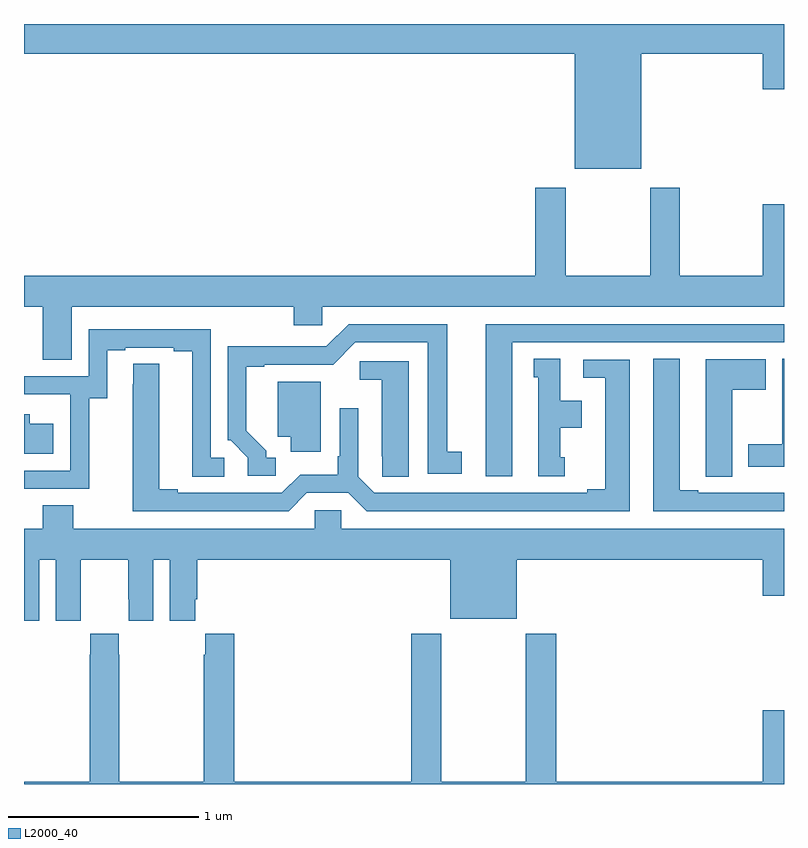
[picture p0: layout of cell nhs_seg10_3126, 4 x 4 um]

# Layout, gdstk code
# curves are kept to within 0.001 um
import gdstk
lib = gdstk.Library(unit=1e-6, precision=1e-09)
def P(c, l, *ps):  # polygons
    for p in ps: c.add(gdstk.Polygon(p, *l))
L2000_40 = (2000, 40)

nhs_seg10_3126 = lib.new_cell('nhs_seg10_3126')
P(nhs_seg10_3126, L2000_40, [(284.248,1272.344),(284.888,1272.344),(284.888,1272.156),(285,1272.156),(285,1272.5),(281,1272.5),(281,1272.344),(283.898,1272.344),(283.898,1271.738),(284.248,1271.738)],
  [(281.251,1271.012),(282.419,1271.012),(282.419,1270.914),(282.57,1270.914),(282.57,1271.012),(285,1271.012),(285,1271.551),(284.888,1271.551),(284.888,1271.176),(284.451,1271.176),(284.451,1271.638),(284.296,1271.638),(284.296,1271.176),(283.851,1271.176),(283.851,1271.638),(283.691,1271.638),(283.691,1271.176),(281,1271.176),(281,1271.012),(281.099,1271.012),(281.099,1270.732),(281.251,1270.732)],
  [(282.325,1270.218),(282.274,1270.218),(282.274,1270.253),(282.169,1270.358),(282.169,1270.695),(282.265,1270.695),(282.265,1270.707),(282.627,1270.707),(282.744,1270.824),(283.124,1270.824),(283.124,1270.134),(283.303,1270.134),(283.303,1270.25),(283.228,1270.25),(283.228,1270.92),(282.708,1270.92),(282.591,1270.803),(282.335,1270.803),(282.335,1270.805),(282.072,1270.805),(282.072,1270.308),(282.087,1270.308),(282.177,1270.218),(282.177,1270.122),(282.325,1270.122)],
  [(283.57,1270.824),(285,1270.824),(285,1270.92),(283.43,1270.92),(283.43,1270.119),(283.57,1270.119)],
  [(281.343,1270.531),(281.437,1270.531),(281.437,1270.782),(281.533,1270.782),(281.533,1270.797),(281.789,1270.797),(281.789,1270.777),(281.885,1270.777),(281.885,1270.117),(282.055,1270.117),(282.055,1270.218),(281.982,1270.218),(281.982,1270.893),(281.34,1270.893),(281.34,1270.647),(281,1270.647),(281,1270.551),(281.243,1270.551),(281.243,1270.55),(281.244,1270.55),(281.244,1270.149),(281,1270.149),(281,1270.053),(281.343,1270.053)],
  [(283.846,1270.221),(283.822,1270.221),(283.822,1270.376),(283.936,1270.376),(283.936,1270.516),(283.822,1270.516),(283.822,1270.739),(283.682,1270.739),(283.682,1270.641),(283.706,1270.641),(283.706,1270.119),(283.846,1270.119)],
  [(285,1270.032),(284.99,1270.032),(284.99,1270.033),(284.824,1270.033),(284.824,1270.032),(284.548,1270.032),(284.548,1270.047),(284.452,1270.047),(284.452,1270.739),(284.312,1270.739),(284.312,1269.936),(285,1269.936)],
  [(285,1270.739),(284.99,1270.739),(284.99,1270.287),(284.813,1270.287),(284.813,1270.17),(285,1270.17)],
  [(284.728,1270.576),(284.905,1270.576),(284.905,1270.735),(284.588,1270.735),(284.588,1270.225),(284.589,1270.225),(284.589,1270.117),(284.728,1270.117)],
  [(282.489,1270.032),(282.707,1270.032),(282.803,1269.936),(284.188,1269.936),(284.188,1270.734),(283.944,1270.734),(283.944,1270.638),(284.06,1270.638),(284.06,1270.052),(283.964,1270.052),(283.964,1270.032),(282.843,1270.032),(282.759,1270.116),(282.759,1270.477),(282.663,1270.477),(282.663,1270.225),(282.651,1270.225),(282.651,1270.128),(282.453,1270.128),(282.357,1270.032),(281.809,1270.032),(281.809,1270.052),(281.713,1270.052),(281.713,1270.712),(281.574,1270.712),(281.573,1269.936),(282.393,1269.936)],
  [(283.024,1270.725),(282.768,1270.725),(282.768,1270.628),(282.884,1270.628),(282.884,1270.225),(282.885,1270.225),(282.885,1270.117),(283.024,1270.117)],
  [(282.562,1270.618),(282.335,1270.618),(282.335,1270.328),(282.404,1270.328),(282.404,1270.248),(282.562,1270.248)],
  [(281.155,1270.396),(281.029,1270.396),(281.029,1270.447),(281,1270.447),(281,1270.238),(281.155,1270.238)],
  [(281.259,1269.968),(281.099,1269.968),(281.099,1269.844),(281,1269.844),(281,1269.36),(281.08,1269.36),(281.08,1269.68),(281.168,1269.68),(281.168,1269.36),(281.298,1269.36),(281.298,1269.472),(281.299,1269.472),(281.299,1269.68),(281.549,1269.68),(281.549,1269.472),(281.55,1269.472),(281.55,1269.36),(281.68,1269.36),(281.68,1269.68),(281.768,1269.68),(281.768,1269.36),(281.902,1269.36),(281.902,1269.472),(281.912,1269.472),(281.912,1269.68),(283.244,1269.68),(283.244,1269.371),(283.594,1269.371),(283.594,1269.68),(284.888,1269.68),(284.888,1269.492),(285,1269.492),(285,1269.844),(282.669,1269.844),(282.669,1269.942),(282.531,1269.942),(282.531,1269.844),(281.259,1269.844)],
  [(285,1268.887),(284.888,1268.887),(284.888,1268.512),(283.802,1268.512),(283.802,1269.292),(283.642,1269.292),(283.642,1268.512),(283.197,1268.512),(283.197,1269.292),(283.037,1269.292),(283.037,1268.512),(282.107,1268.512),(282.107,1269.292),(281.953,1269.292),(281.953,1269.179),(281.947,1269.179),(281.947,1268.512),(281.502,1268.512),(281.502,1269.179),(281.499,1269.179),(281.499,1269.292),(281.349,1269.292),(281.349,1269.179),(281.347,1269.179),(281.347,1268.512),(281,1268.512),(281,1268.5),(285,1268.5)])

lib.write_gds('nhs_seg10_3126.gds')
